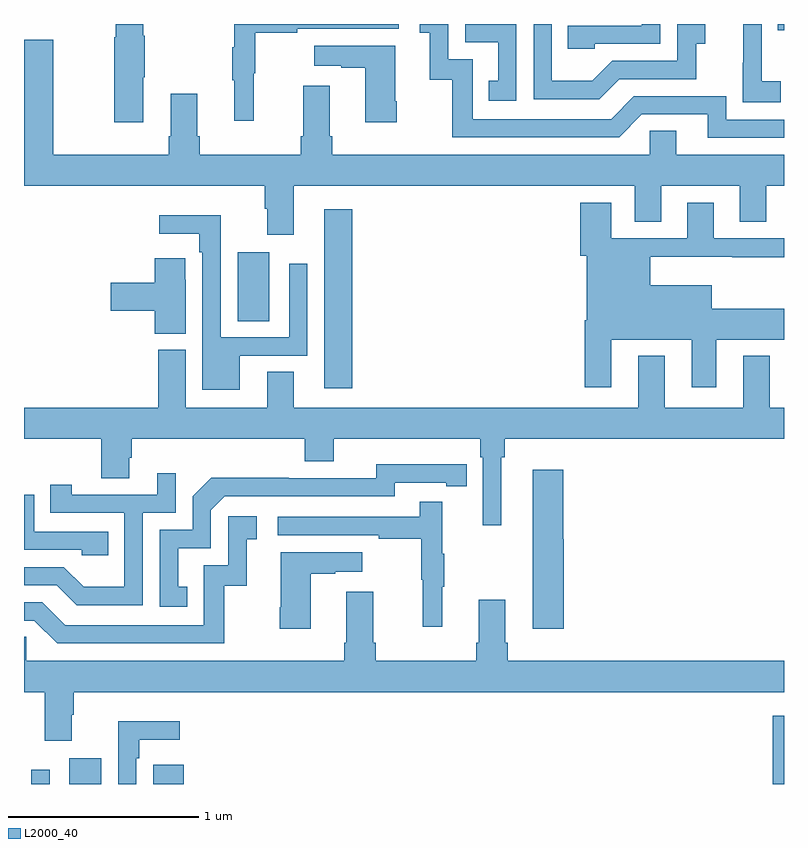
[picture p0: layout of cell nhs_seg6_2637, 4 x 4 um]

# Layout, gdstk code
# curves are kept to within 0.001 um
import gdstk
lib = gdstk.Library(unit=1e-6, precision=1e-09)
def R(c, l, rs):  # rectangles x0, y0, x1, y1
    for r in rs: c.add(gdstk.rectangle(r[:2], r[2:], *l))
def P(c, l, *ps):  # polygons
    for p in ps: c.add(gdstk.Polygon(p, *l))
L2000_40 = (2000, 40)

nhs_seg6_2637 = lib.new_cell('nhs_seg6_2637')
R(nhs_seg6_2637, L2000_40, [(267.039,965.5,267.135,965.575), (267.239,965.5,267.406,965.635), (267.681,965.5,267.842,965.602), (270.942,965.5,271,965.86), (268.58,967.584,268.727,968.524), (268.124,967.936,268.291,968.299), (270.967,969.466,271,969.5)])
P(nhs_seg6_2637, L2000_40, [(270.982,969.199),(270.884,969.199),(270.884,969.428),(270.882,969.428),(270.882,969.5),(270.785,969.5),(270.785,969.295),(270.784,969.295),(270.784,969.089),(270.982,969.089)],
  [(269.592,969.5),(269.322,969.5),(269.322,969.405),(269.495,969.405),(269.495,969.201),(269.446,969.201),(269.446,969.096),(269.592,969.096)],
  [(267.628,969.22),(267.636,969.22),(267.636,969.437),(267.628,969.437),(267.628,969.5),(267.482,969.5),(267.482,969.431),(267.475,969.431),(267.475,968.982),(267.628,968.982)],
  [(268.208,969.24),(268.216,969.24),(268.216,969.454),(268.439,969.454),(268.439,969.474),(268.972,969.474),(268.972,969.5),(268.106,969.5),(268.106,969.377),(268.095,969.377),(268.095,969.203),(268.106,969.203),(268.106,968.991),(268.208,968.991)],
  [(270.133,969.21),(270.537,969.21),(270.537,969.395),(270.586,969.395),(270.586,969.5),(270.438,969.5),(270.438,969.306),(270.096,969.306),(269.992,969.202),(269.778,969.202),(269.778,969.5),(269.682,969.5),(269.682,969.105),(270.028,969.105)],
  [(270.003,969.396),(270.348,969.396),(270.348,969.5),(270.252,969.5),(270.252,969.492),(269.863,969.492),(269.863,969.369),(270.003,969.369)],
  [(271,968.997),(270.696,968.997),(270.696,969.12),(270.21,969.12),(270.09,969),(269.361,969),(269.361,969.315),(269.232,969.315),(269.232,969.5),(269.082,969.5),(269.082,969.453),(269.135,969.453),(269.135,969.207),(269.253,969.207),(269.253,968.904),(270.132,968.904),(270.252,969.024),(270.599,969.024),(270.599,968.901),(271,968.901)],
  [(268.42,968.648),(270.215,968.648),(270.215,968.458),(270.355,968.458),(270.355,968.648),(270.767,968.648),(270.767,968.458),(270.907,968.458),(270.907,968.648),(271,968.648),(271,968.812),(270.433,968.812),(270.433,968.939),(270.294,968.939),(270.294,968.812),(268.622,968.812),(268.622,968.908),(268.609,968.908),(268.609,969.175),(268.469,969.175),(268.469,968.908),(268.457,968.908),(268.457,968.812),(267.926,968.812),(267.926,968.908),(267.913,968.908),(267.913,969.133),(267.773,969.133),(267.773,968.908),(267.761,968.908),(267.761,968.812),(267.154,968.812),(267.154,969.418),(267,969.418),(267,968.648),(268.268,968.648),(268.268,968.528),(268.28,968.528),(268.28,968.391),(268.42,968.391)],
  [(268.962,969.094),(268.954,969.094),(268.954,969.385),(268.527,969.385),(268.527,969.281),(268.67,969.281),(268.67,969.271),(268.796,969.271),(268.796,968.982),(268.962,968.982)],
  [(270.091,967.838),(270.515,967.838),(270.515,967.587),(270.643,967.587),(270.643,967.838),(271,967.838),(271,968.002),(270.619,968.002),(270.619,968.125),(270.295,968.125),(270.295,968.276),(270.727,968.276),(270.727,968.272),(271,968.272),(271,968.373),(270.631,968.373),(270.631,968.56),(270.491,968.56),(270.491,968.373),(270.091,968.373),(270.091,968.56),(269.927,968.56),(269.927,968.28),(269.963,968.28),(269.963,967.942),(269.951,967.942),(269.951,967.587),(270.091,967.587)],
  [(268.135,967.755),(268.491,967.755),(268.491,968.239),(268.395,968.239),(268.395,967.851),(268.035,967.851),(268.035,968.494),(267.711,968.494),(267.711,968.396),(267.923,968.396),(267.923,968.3),(267.939,968.3),(267.939,967.574),(268.135,967.574)],
  [(267.85,968.153),(267.849,968.153),(267.849,968.266),(267.689,968.266),(267.689,968.138),(267.456,968.138),(267.456,967.991),(267.689,967.991),(267.689,967.87),(267.85,967.87)],
  [(269.512,967.22),(269.531,967.22),(269.531,967.316),(271,967.316),(271,967.48),(270.925,967.48),(270.925,967.753),(270.785,967.753),(270.785,967.48),(270.373,967.48),(270.373,967.753),(270.233,967.753),(270.233,967.48),(268.42,967.48),(268.42,967.67),(268.28,967.67),(268.28,967.48),(267.85,967.48),(267.85,967.785),(267.707,967.785),(267.707,967.48),(267,967.48),(267,967.316),(267.406,967.316),(267.406,967.108),(267.553,967.108),(267.553,967.218),(267.566,967.218),(267.566,967.316),(268.478,967.316),(268.478,967.199),(268.63,967.199),(268.63,967.316),(269.402,967.316),(269.402,967.22),(269.415,967.22),(269.415,966.861),(269.512,966.861)],
  [(267.86,966.537),(267.811,966.537),(267.811,966.741),(267.984,966.741),(267.984,966.942),(268.056,967.014),(268.95,967.014),(268.95,967.086),(269.222,967.086),(269.222,967.066),(269.33,967.066),(269.33,967.182),(268.854,967.183),(268.854,967.11),(268.394,967.11),(268.394,967.112),(267.986,967.112),(267.888,967.014),(267.888,966.837),(267.714,966.837),(267.714,966.432),(267.86,966.432)],
  [(269.842,966.789),(269.837,966.789),(269.837,967.153),(269.678,967.153),(269.678,966.318),(269.842,966.318)],
  [(267.624,966.927),(267.798,966.927),(267.798,967.135),(267.701,967.135),(267.701,967.023),(267.25,967.023),(267.25,967.075),(267.139,967.075),(267.139,966.927),(267.528,966.927),(267.528,966.538),(267.314,966.538),(267.21,966.642),(267,966.642),(267,966.546),(267.173,966.546),(267.278,966.441),(267.624,966.441)],
  [(267.443,966.828),(267.054,966.828),(267.054,967.023),(267,967.023),(267,966.732),(267.303,966.732),(267.303,966.705),(267.443,966.705)],
  [(269.201,966.539),(269.212,966.539),(269.212,966.713),(269.201,966.713),(269.201,966.985),(269.083,966.985),(269.083,966.906),(268.335,966.906),(268.335,966.81),(268.867,966.81),(268.867,966.79),(269.091,966.79),(269.091,966.576),(269.098,966.576),(269.098,966.327),(269.201,966.327)],
  [(268.054,966.543),(268.172,966.543),(268.172,966.789),(268.225,966.789),(268.225,966.91),(268.074,966.91),(268.074,966.651),(267.945,966.651),(267.945,966.336),(267.216,966.336),(267.096,966.456),(267,966.456),(267,966.36),(267.054,966.36),(267.174,966.24),(268.054,966.24)],
  [(268.51,966.607),(268.637,966.607),(268.637,966.617),(268.78,966.617),(268.78,966.721),(268.352,966.721),(268.352,966.43),(268.345,966.43),(268.345,966.318),(268.51,966.318)],
  [(267.25,965.864),(267.263,965.864),(267.263,965.984),(271,965.984),(271,966.148),(269.546,966.148),(269.546,966.244),(269.533,966.244),(269.533,966.469),(269.393,966.469),(269.393,966.244),(269.381,966.244),(269.381,966.148),(268.85,966.148),(268.85,966.244),(268.837,966.244),(268.837,966.511),(268.697,966.511),(268.697,966.244),(268.685,966.244),(268.685,966.148),(267.012,966.148),(267.012,966.275),(267,966.275),(267,965.984),(267.11,965.984),(267.11,965.727),(267.25,965.727)],
  [(267.591,965.636),(267.607,965.636),(267.607,965.732),(267.82,965.732),(267.82,965.83),(267.495,965.83),(267.495,965.5),(267.591,965.5)])

lib.write_gds('nhs_seg6_2637.gds')
